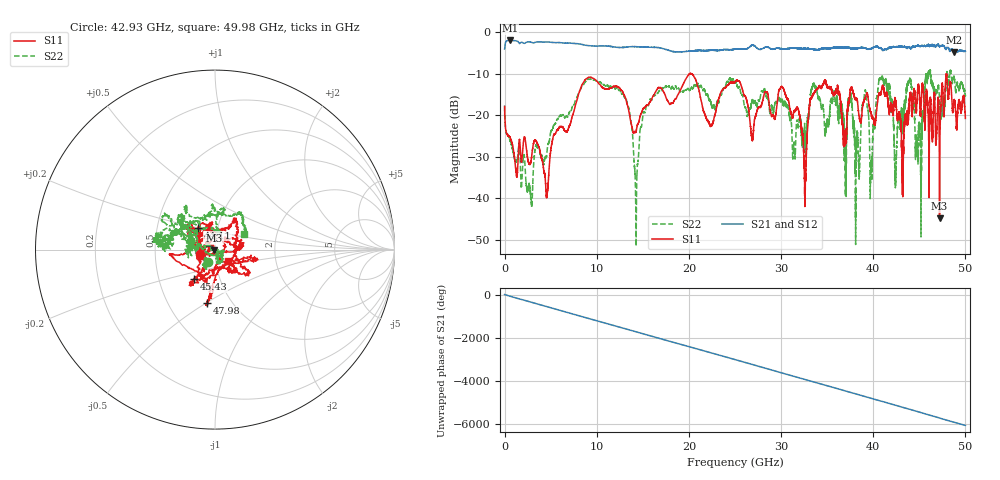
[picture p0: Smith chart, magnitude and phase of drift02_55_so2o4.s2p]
!Created with skrf (http://scikit-rf.org).
# Hz S RI R 50.0
!freq ReS11 ImS11 ReS21 ImS21 ReS12 ImS12 ReS22 ImS22
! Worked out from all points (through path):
!   10001 points, 300 kHz to 50 GHz, reference 50 ohm
!   highest |S21| = -1.99 dB at 585.3 MHz (marker M1); lowest = -4.8 dB at 48.77 GHz (marker M2)
!   group delay of S21, straight-line fit = 337 ps
!   lowest |S11| = -44.8 dB at 47.2 GHz (marker M3), VSWR 1.01, Z = 49.6 - j0.426 ohm
!   |S11| at or under -10 dB: start of sweep to 20.06 GHz; 20.20803 GHz to 20.22053 GHz (12.5 MHz wide, 0.0618 % of centre); 20.24 GHz to end of sweep (the widest 3 of 6)
!   |S22| runs from -51.5 to -9.1 dB; largest |S21 - S12| = 0.033
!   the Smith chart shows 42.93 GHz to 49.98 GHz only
!   S11 on the Smith chart (normalised r, x): 42.93 GHz: 0.84, -0.04; 44.11 GHz: 0.80, +0.20; 45.43 GHz: 0.75, -0.26; 47.98 GHz: 0.77, -0.50; 49.98 GHz: 1.15, -0.15
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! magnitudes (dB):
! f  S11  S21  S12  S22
! 300 kHz  -17.9  -4.0  -4.0  -17.7
! 585.3 MHz  -25.3  -2.0  -2.0  -26.0
! 4.565 GHz  -39.9  -2.4  -2.4  -29.4
! 8.335 GHz  -13.0  -2.9  -2.9  -13.2
! 13.01 GHz  -15.3  -3.6  -3.6  -15.7
! 14.28 GHz  -23.8  -3.5  -3.5  -49.9
! 16.67 GHz  -13.3  -3.7  -3.7  -14.5
! 25 GHz  -12.1  -4.1  -4.1  -12.2
! 26.86 GHz  -25.8  -3.1  -3.1  -16.6
! 30.19 GHz  -13.4  -4.1  -4.1  -16.9
! 32.58 GHz  -38.9  -3.9  -3.9  -24.8
! 33.34 GHz  -15.8  -4.0  -4.0  -13.7
! 38.28 GHz  -16.8  -4.0  -3.9  -24.5
! 41.67 GHz  -18.3  -3.8  -3.9  -12.5
! 42.93 GHz  -21.0  -3.4  -3.4  -21.8
! 44.11 GHz  -16.2  -3.9  -3.9  -12.1
! 45.43 GHz  -13.8  -3.4  -3.4  -19.7
! 47.2 GHz  -44.8  -3.5  -3.4  -16.2
! 47.98 GHz  -10.5  -3.7  -3.7  -9.8
! 48.77 GHz  -16.7  -4.8  -4.8  -10.8
! 49.98 GHz  -20.2  -4.6  -4.6  -14.8
! 50 GHz  -20.8  -4.6  -4.6  -15.1
